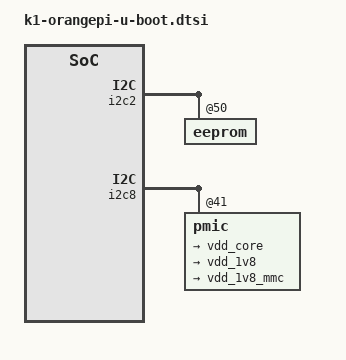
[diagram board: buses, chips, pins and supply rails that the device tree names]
// SPDX-License-Identifier: GPL-2.0-or-later OR MIT

#include "binman.dtsi"

/* SPL-only availability and U-Boot regulator lookup names. */
&{/soc} {
	bootph-pre-ram;
};

&{/soc/storage-bus} {
	bootph-pre-ram;
};

&{/cpus} {
	bootph-pre-ram;
};

&cpu_0 {
	bootph-pre-ram;
};

&uart0 {
	bootph-pre-ram;
};

&clint {
	clock-frequency = <24000000>;
	bootph-pre-ram;
};

&osc_32k {
	bootph-pre-ram;
};

&vctcxo_1m {
	bootph-pre-ram;
};

&vctcxo_3m {
	bootph-pre-ram;
};

&vctcxo_24m {
	bootph-pre-ram;
};

&pll {
	bootph-pre-ram;
};

&syscon_mpmu {
	bootph-pre-ram;
};

&syscon_apmu {
	bootph-pre-ram;
};

&syscon_apbc {
	bootph-pre-ram;
};

&i2c2 {
	bootph-pre-ram;

	eeprom@50 {
		bootph-pre-ram;
	};
};

&i2c8 {
	bootph-pre-ram;

	pmic@41 {
		bootph-pre-ram;

		regulators {
			buck1 {
				regulator-name = "vdd_core";
				bootph-pre-ram;
			};

			buck3 {
				regulator-name = "vdd_1v8";
				bootph-pre-ram;
			};

			aldo1 {
				regulator-name = "vdd_1v8_mmc";
				bootph-pre-ram;
			};
		};
	};
};

&emmc {
	max-frequency = <204800000>;
	bootph-pre-ram;
};

&binman {
	u-boot-spl-ddr {
		type = "section";
		filename = "u-boot-spl-ddr.bin";
		pad-byte = <0xff>;

		u-boot-spl {
		};

		ddr-fw {
			type = "blob";
			filename = "ddr_fw.bin";
			align = <64>;
		};

		u-boot-any {
			type = "section";
			size = <0>;
			offset = <0>;
		};
	};
};
